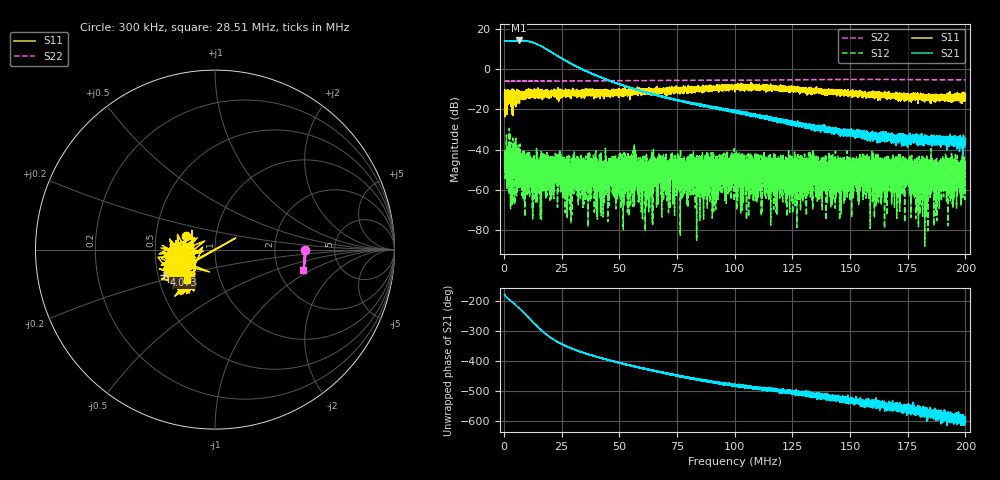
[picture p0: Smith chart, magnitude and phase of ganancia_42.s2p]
# Hz S DB R 50
! CMT, M5065, 19127446, 24.2.4/2
! Date: 11/8/2024 3:14:12 PM
! Data: Format (Calibration Info)
! Freq	S11:dB/Ang(F2)	S21:dB/Ang(F2)	S12:dB/Ang(F2)	S22:dB/Ang(F2)
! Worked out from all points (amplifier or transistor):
!   9000 points, 300 kHz to 200 MHz, reference 50 ohm
!   highest |S21| = 14.2 dB at 6.38 MHz (marker M1)
!   |S21| within 3 dB of that: start of sweep to 16.39 MHz
!   unconditionally stable (mu >= 1): start of sweep to end of sweep
!   at 33.59 MHz: K = 82.65, MAG = 1.7 dB, |S12| = -47.7 dB
!   at 100.2 MHz: K = 817.82, MAG = -19.6 dB, |S12| = -46.7 dB
!   at 200 MHz: K = 4199.12, MAG = -33.1 dB, |S12| = -47.1 dB
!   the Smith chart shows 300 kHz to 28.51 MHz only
!   S11 on the Smith chart (normalised r, x): 300 kHz: 0.71, +0.11; 4.073 MHz: 0.54, -0.17; 28.51 MHz: 0.69, -0.25
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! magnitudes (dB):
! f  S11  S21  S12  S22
! 300 kHz  -15.0  14.0  -49.3  -6.0
! 4.073 MHz  -10.0  14.0  -40.3  -6.0
! 6.38 MHz  -13.9  14.2  -43.7  -6.0
! 9.199 MHz  -11.8  14.0  -58.3  -6.0
! 24.53 MHz  -12.6  5.6  -55.8  -5.9
! 28.51 MHz  -12.8  3.0  -54.9  -5.9
! 33.59 MHz  -11.2  0.0  -47.7  -5.9
! 61.1 MHz  -10.4  -11.4  -51.0  -5.7
! 63.48 MHz  -10.8  -12.3  -45.7  -5.7
! 66.87 MHz  -10.6  -13.2  -53.0  -5.7
! 92.33 MHz  -9.4  -19.7  -59.0  -5.6
! 100.2 MHz  -9.4  -21.5  -46.7  -5.5
! 122.7 MHz  -9.1  -26.0  -51.4  -5.4
! 133.4 MHz  -10.4  -28.6  -55.5  -5.3
! 137.2 MHz  -11.7  -29.7  -46.4  -5.2
! 155.1 MHz  -12.3  -33.9  -47.4  -5.2
! 158 MHz  -12.8  -32.3  -51.9  -5.2
! 166.7 MHz  -13.3  -35.0  -60.5  -5.2
! 188.2 MHz  -14.6  -34.9  -58.2  -5.3
! 190.6 MHz  -12.9  -36.2  -46.3  -5.3
! 197.4 MHz  -13.9  -34.9  -47.4  -5.4
! 200 MHz  -12.6  -34.9  -47.1  -5.3
